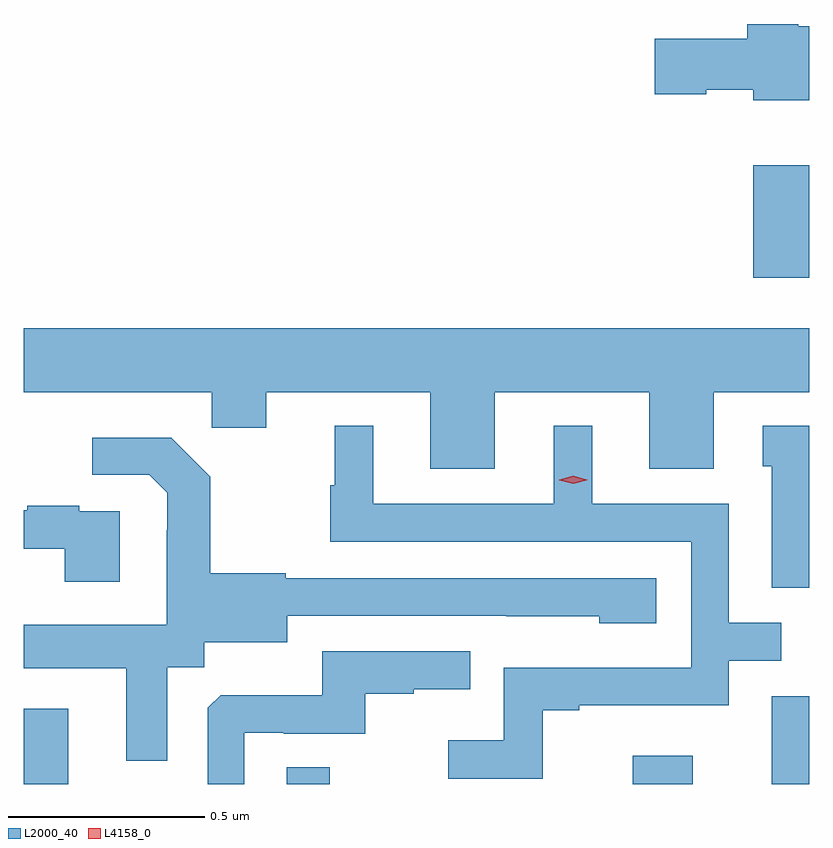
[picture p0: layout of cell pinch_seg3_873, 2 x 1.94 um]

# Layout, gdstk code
import gdstk
lib = gdstk.Library(unit=1e-6, precision=1e-09)
def R(c, l, rs):  # rectangles x0, y0, x1, y1
    for r in rs: c.add(gdstk.rectangle(r[:2], r[2:], *l))
def P(c, l, *ps):  # polygons
    for p in ps: c.add(gdstk.Polygon(p, *l))
L2000_40 = (2000, 40)
L4158_0 = (4158, 0)

pinch_seg3_873 = lib.new_cell('pinch_seg3_873')
R(pinch_seg3_873, L2000_40, [(736.712,667.951,736.825,668.143), (737.382,667.951,737.491,667.994), (738.263,667.951,738.415,668.023), (738.617,667.951,738.712,668.175), (738.569,669.24,738.712,669.526)])
P(pinch_seg3_873, L2000_40, [(738.712,669.88),(738.684,669.88),(738.684,669.886),(738.554,669.886),(738.554,669.849),(738.318,669.849),(738.318,669.707),(738.45,669.707),(738.45,669.719),(738.57,669.719),(738.57,669.692),(738.712,669.692)],
  [(737.911,668.948),(738.305,668.948),(738.305,668.754),(738.469,668.754),(738.469,668.948),(738.712,668.948),(738.712,669.112),(736.712,669.112),(736.712,668.948),(737.191,668.948),(737.191,668.858),(737.329,668.858),(737.329,668.948),(737.747,668.948),(737.747,668.754),(737.911,668.754)],
  [(738.033,668.139),(738.127,668.139),(738.127,668.151),(738.507,668.151),(738.507,668.265),(738.641,668.265),(738.641,668.361),(738.507,668.361),(738.507,668.664),(738.16,668.664),(738.16,668.863),(738.062,668.863),(738.062,668.664),(737.602,668.664),(737.602,668.863),(737.504,668.863),(737.504,668.712),(737.493,668.712),(737.493,668.568),(738.411,668.568),(738.411,668.247),(737.934,668.247),(737.934,668.062),(737.793,668.062),(737.793,667.964),(738.033,667.964)],
  [(738.712,668.863),(738.593,668.863),(738.593,668.76),(738.617,668.76),(738.617,668.451),(738.712,668.451)],
  [(737.077,668.248),(737.172,668.248),(737.172,668.312),(737.383,668.312),(737.383,668.379),(737.941,668.379),(737.941,668.378),(738.177,668.378),(738.177,668.36),(738.322,668.36),(738.322,668.475),(737.379,668.475),(737.379,668.488),(737.187,668.488),(737.187,668.733),(737.087,668.833),(736.887,668.833),(736.887,668.739),(737.031,668.739),(737.078,668.692),(737.078,668.597),(737.076,668.597),(737.076,668.356),(736.712,668.356),(736.712,668.246),(736.973,668.246),(736.973,668.01),(737.077,668.01)],
  [(736.957,668.646),(736.853,668.646),(736.853,668.659),(736.721,668.659),(736.721,668.648),(736.712,668.648),(736.712,668.55),(736.817,668.55),(736.817,668.466),(736.957,668.466)],
  [(737.274,668.082),(737.374,668.082),(737.374,668.079),(737.582,668.079),(737.582,668.181),(737.705,668.181),(737.705,668.192),(737.849,668.192),(737.849,668.289),(737.472,668.289),(737.472,668.177),(737.213,668.177),(737.181,668.145),(737.181,667.951),(737.274,667.951)])
P(pinch_seg3_873, L4158_0, [(738.111,668.716),(738.076,668.725),(738.075,668.726),(738.076,668.726),(738.111,668.736),(738.146,668.726),(738.147,668.726),(738.146,668.725)])

lib.write_gds('pinch_seg3_873.gds')
